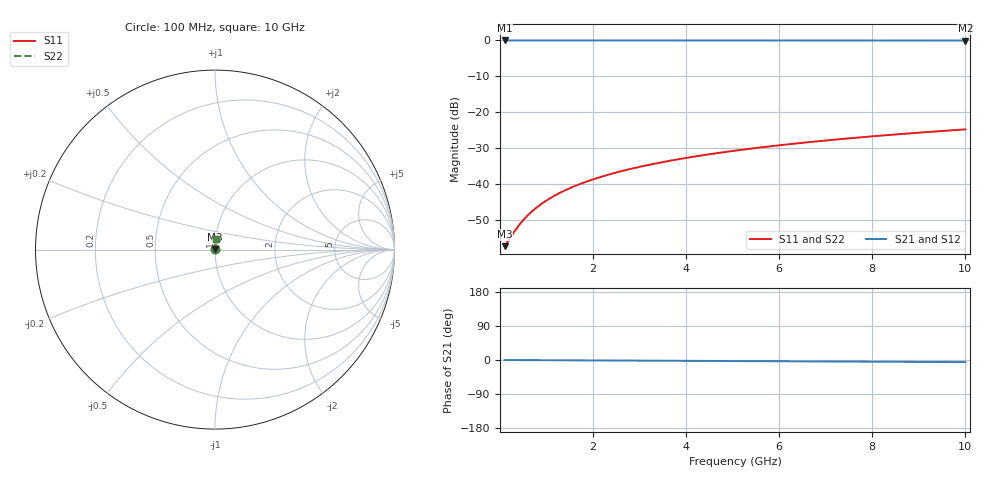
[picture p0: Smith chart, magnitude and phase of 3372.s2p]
# Hz S RI R 50.00
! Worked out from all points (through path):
!   100 points, 100 MHz to 10 GHz, reference 50 ohm
!   highest |S21| = -0.01 dB at 100 MHz (marker M1); lowest = 0.0 dB at 10 GHz (marker M2)
!   lowest |S11| = -57.3 dB at 100 MHz (marker M3), VSWR 1.00, Z = 50.1 + j0.0577 ohm
!   |S11| at or under -10 dB: start of sweep to end of sweep
!   |S22| runs from -57.3 to -24.8 dB; largest |S21 - S12| = 0
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1e8  0.00124 0.000575  0.9988 -0.000966  0.9988 -0.000966  0.00124 0.000575
3e8  0.00125 0.00173  0.9987 -0.0029  0.9987 -0.0029  0.00125 0.00173
4e8  0.00126 0.0023  0.9987 -0.00387  0.9987 -0.00387  0.00126 0.0023
5e8  0.00127 0.00288  0.9987 -0.00483  0.9987 -0.00483  0.00127 0.00288
6e8  0.00128 0.00345  0.9987 -0.0058  0.9987 -0.0058  0.00128 0.00345
7e8  0.00129 0.00403  0.9987 -0.00676  0.9987 -0.00676  0.00129 0.00403
8e8  0.0013 0.0046  0.9987 -0.00773  0.9987 -0.00773  0.0013 0.0046
1e9  0.00133 0.00575  0.9987 -0.00966  0.9987 -0.00966  0.00133 0.00575
1.2e9  0.00136 0.0069  0.9986 -0.0116  0.9986 -0.0116  0.00136 0.0069
1.5e9  0.00141 0.00863  0.9986 -0.0145  0.9986 -0.0145  0.00141 0.00863
1.8e9  0.00147 0.0104  0.9985 -0.0174  0.9985 -0.0174  0.00147 0.0104
2.1e9  0.00154 0.0121  0.9984 -0.0203  0.9984 -0.0203  0.00154 0.0121
2.5e9  0.00165 0.0144  0.9983 -0.0242  0.9983 -0.0242  0.00165 0.0144
2.9e9  0.00177 0.0167  0.9981 -0.028  0.9981 -0.028  0.00177 0.0167
3.4e9  0.00196 0.0195  0.9979 -0.0329  0.9979 -0.0329  0.00196 0.0195
4.2e9  0.0023 0.0241  0.9975 -0.0406  0.9975 -0.0406  0.0023 0.0241
5.1e9  0.00278 0.0293  0.997 -0.0493  0.997 -0.0493  0.00278 0.0293
5.9e9  0.00328 0.0339  0.9964 -0.057  0.9964 -0.057  0.00328 0.0339
6.7e9  0.00385 0.0385  0.9958 -0.0647  0.9958 -0.0647  0.00385 0.0385
7.5e9  0.00449 0.043  0.995 -0.0724  0.995 -0.0724  0.00449 0.043
8.4e9  0.0053 0.0482  0.9941 -0.0811  0.9941 -0.0811  0.0053 0.0482
1e10  0.00696 0.0573  0.9922 -0.0965  0.9922 -0.0965  0.00696 0.0573
